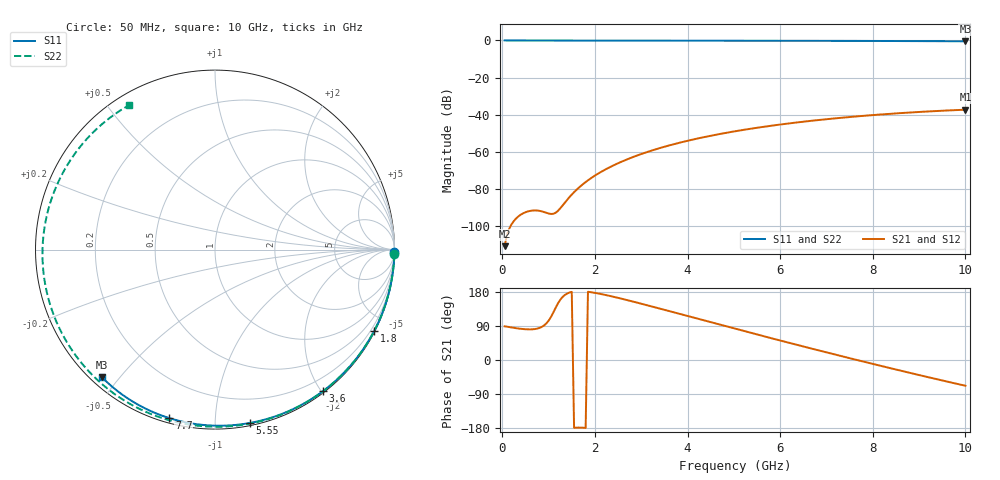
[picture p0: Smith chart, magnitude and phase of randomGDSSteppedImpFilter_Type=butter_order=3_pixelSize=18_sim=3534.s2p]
! freq	dB(S11)	phase(S11)	dB(S12)	phase(S12)
!  dB(S21)	phase(S21)	dB(S22)	phase(S22)
!S-par simulation data
#  GHz  S  DB  R 50
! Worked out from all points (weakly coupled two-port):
!   200 points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, 50 MHz to 10 GHz, reference 50 ohm
!   highest |S21| = -37.30 dB at 10 GHz (marker M1); lowest = -110.8 dB at 50 MHz (marker M2)
!   lowest |S11| = -0.4 dB at 10 GHz (marker M3), VSWR 38.98, Z = 1.54 - j22.5 ohm
!   |S11| at or under -10 dB: nowhere
!   |S22| runs from -0.6 to 0.0 dB; largest |S21 - S12| = 0
!   S11 on the Smith chart (normalised r, x): 50 MHz: open; 1.8 GHz: 0.04, -4.17; 3.6 GHz: 0.02, -2.02; 5.55 GHz: 0.02, -1.22; 7.7 GHz: 0.02, -0.77; 10 GHz: 0.03, -0.45
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0.05  -0.00 -0.8  -110.82 88.9  -110.82 88.9  -0.00 -1.5
0.4  -0.01 -6.1  -93.83 82.3  -93.83 82.3  -0.02 -11.5
0.8  -0.02 -12.1  -91.78 84.5  -91.78 84.5  -0.03 -23.0
1.2  -0.02 -18.1  -91.84 148.9  -91.84 148.9  -0.04 -34.2
1.6  -0.03 -24.0  -80.51 -178.5  -80.51 -178.5  -0.06 -45.3
1.75  -0.03 -26.2  -77.25 -178.8  -77.25 -178.8  -0.06 -49.4
1.8  -0.03 -27.0  -76.27 -179.3  -76.27 -179.3  -0.06 -50.7
2.1  -0.04 -31.4  -71.27 174.9  -71.27 174.9  -0.07 -58.7
2.5  -0.05 -37.1  -66.14 164.0  -66.14 164.0  -0.09 -69.2
2.9  -0.06 -42.9  -62.08 151.8  -62.08 151.8  -0.10 -79.3
3.4  -0.07 -49.9  -57.98 135.7  -57.98 135.7  -0.12 -91.6
3.6  -0.07 -52.7  -56.57 129.2  -56.57 129.2  -0.12 -96.4
4.3  -0.09 -62.3  -52.37 106.3  -52.37 106.3  -0.15 -112.7
5.05  -0.11 -72.3  -48.82 81.8  -48.82 81.8  -0.19 -129.4
5.55  -0.13 -78.7  -46.85 65.7  -46.85 65.7  -0.21 -140.2
6.15  -0.15 -86.3  -44.81 46.7  -44.81 46.7  -0.25 -153.0
6.7  -0.18 -93.1  -43.21 29.4  -43.21 29.4  -0.29 -164.7
7.2  -0.21 -99.2  -41.93 14.0  -41.93 14.0  -0.33 -175.3
7.7  -0.24 -105.1  -40.81 -1.3  -40.81 -1.3  -0.37 173.9
8.35  -0.29 -112.8  -39.56 -20.7  -39.56 -20.7  -0.43 159.6
9.15  -0.36 -121.9  -38.31 -44.0  -38.31 -44.0  -0.50 141.3
10  -0.45 -131.6  -37.30 -67.9  -37.30 -67.9  -0.57 120.7
